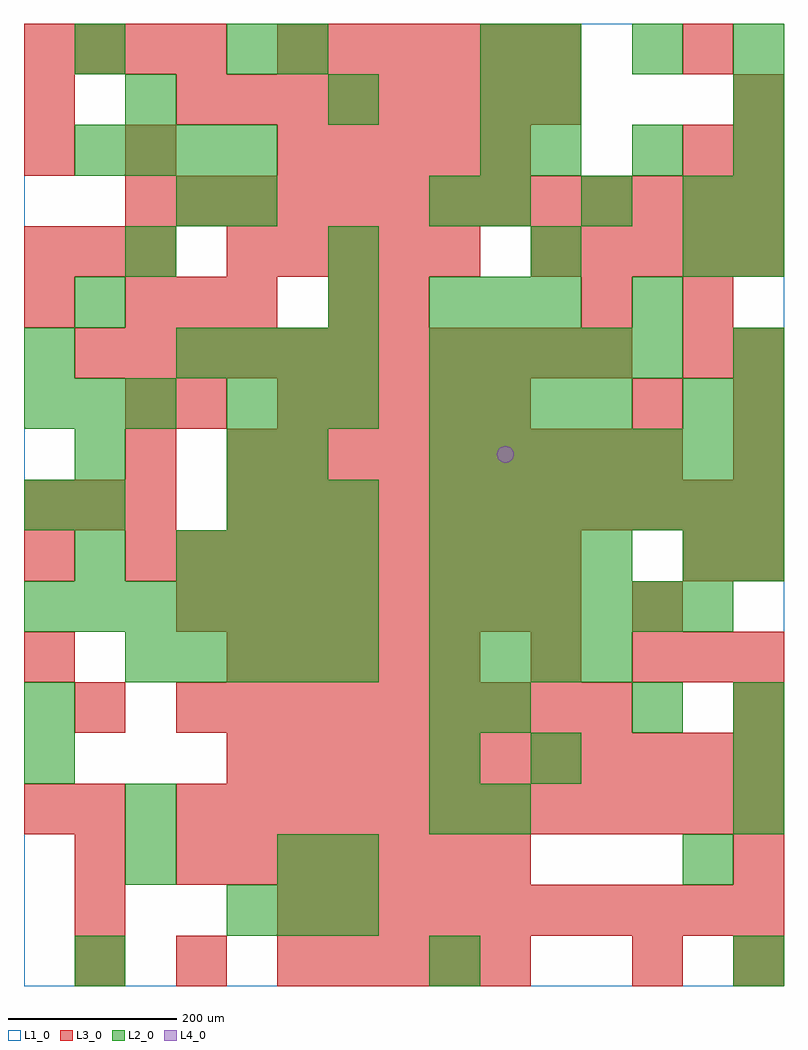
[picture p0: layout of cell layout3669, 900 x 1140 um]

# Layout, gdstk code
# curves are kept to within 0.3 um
import gdstk
lib = gdstk.Library(unit=1e-6, precision=1e-09)
def R(c, l, rs):  # rectangles x0, y0, x1, y1
    for r in rs: c.add(gdstk.rectangle(r[:2], r[2:], *l))
def A(c, l, x, y, w, h, nx, ny, dx, dy):  # array of equal rectangles
    R(c, l, [(x+i*dx, y+j*dy, x+i*dx+w, y+j*dy+h) for i in range(nx) for j in range(ny)])
def P(c, l, *ps):  # polygons
    for p in ps: c.add(gdstk.Polygon(p, *l))
L1_0 = (1, 0)
L2_0 = (2, 0)
L3_0 = (3, 0)
L4_0 = (4, 0)

layout3669 = lib.new_cell('layout3669')
R(layout3669, L1_0, [(0,0,900,1140)])
A(layout3669, L2_0, 240, 60, 60, 60, 3, 2, 60, 480)
A(layout3669, L2_0, 300, 120, 60, 60, 1, 3, 0, 480)
A(layout3669, L2_0, 480, 180, 60, 60, 1, 3, 0, 60)
A(layout3669, L2_0, 840, 180, 60, 60, 1, 3, 0, 60)
A(layout3669, L2_0, 120, 360, 60, 60, 5, 1, 60, 0)
A(layout3669, L2_0, 480, 360, 60, 60, 4, 2, 60, 120)
A(layout3669, L2_0, 0, 420, 60, 60, 7, 1, 60, 0)
A(layout3669, L2_0, 480, 420, 60, 60, 6, 1, 60, 0)
A(layout3669, L2_0, 60, 480, 60, 60, 1, 3, 0, 60)
A(layout3669, L2_0, 180, 480, 60, 60, 4, 2, 60, 240)
A(layout3669, L2_0, 780, 480, 60, 60, 1, 3, 0, 180)
A(layout3669, L2_0, 480, 540, 60, 60, 7, 2, 60, 60)
A(layout3669, L2_0, 0, 660, 60, 60, 3, 1, 60, 0)
A(layout3669, L2_0, 240, 660, 60, 60, 3, 1, 60, 0)
A(layout3669, L2_0, 480, 660, 60, 60, 4, 1, 60, 0)
A(layout3669, L2_0, 480, 720, 60, 60, 5, 1, 60, 0)
A(layout3669, L2_0, 480, 780, 60, 60, 3, 1, 60, 0)
A(layout3669, L2_0, 120, 840, 60, 60, 3, 1, 240, 0)
A(layout3669, L2_0, 540, 900, 60, 60, 3, 1, 120, 0)
A(layout3669, L2_0, 60, 960, 60, 60, 4, 1, 60, 0)
A(layout3669, L2_0, 540, 960, 60, 60, 1, 3, 0, 60)
A(layout3669, L2_0, 600, 960, 60, 60, 3, 2, 120, 120)
R(layout3669, L2_0, [(60,0,120,60), (480,0,540,60), (840,0,900,60), (120,120,180,180), (360,120,420,180), (780,120,840,180), (120,180,180,240), (540,180,600,240), (0,240,60,300), (600,240,660,300), (0,300,60,360), (540,300,600,360), (720,300,780,360), (840,480,900,540), (0,540,60,600), (240,600,300,660), (840,660,900,720), (0,720,60,780), (840,720,900,780), (60,780,120,840), (360,780,420,840), (720,780,780,840), (840,840,900,900), (180,900,240,960), (240,900,300,960), (480,900,540,960), (840,900,900,960), (120,1020,180,1080), (360,1020,420,1080), (600,1020,660,1080), (840,1020,900,1080), (60,1080,120,1140), (240,1080,300,1140)])
A(layout3669, L3_0, 60, 0, 60, 60, 3, 1, 120, 0)
A(layout3669, L3_0, 360, 0, 60, 60, 4, 1, 60, 0)
A(layout3669, L3_0, 60, 60, 60, 60, 1, 3, 0, 60)
A(layout3669, L3_0, 300, 60, 60, 60, 10, 1, 60, 0)
A(layout3669, L3_0, 180, 120, 60, 60, 7, 1, 60, 0)
A(layout3669, L3_0, 840, 120, 60, 60, 1, 3, 0, 180)
A(layout3669, L3_0, 180, 180, 60, 60, 12, 1, 60, 0)
A(layout3669, L3_0, 240, 240, 60, 60, 11, 2, 60, 300)
A(layout3669, L3_0, 180, 300, 60, 60, 9, 1, 60, 0)
A(layout3669, L3_0, 240, 360, 60, 60, 5, 2, 60, 480)
A(layout3669, L3_0, 720, 360, 60, 60, 3, 1, 60, 0)
A(layout3669, L3_0, 180, 420, 60, 60, 8, 2, 60, 600)
A(layout3669, L3_0, 120, 480, 60, 60, 9, 1, 60, 0)
A(layout3669, L3_0, 0, 540, 60, 60, 3, 2, 60, 300)
A(layout3669, L3_0, 240, 600, 60, 60, 9, 1, 60, 0)
A(layout3669, L3_0, 840, 600, 60, 60, 1, 3, 0, 60)
A(layout3669, L3_0, 300, 660, 60, 60, 5, 2, 60, 300)
A(layout3669, L3_0, 60, 720, 60, 60, 11, 1, 60, 0)
A(layout3669, L3_0, 120, 780, 60, 60, 3, 1, 60, 0)
A(layout3669, L3_0, 600, 840, 60, 60, 5, 1, 60, 0)
A(layout3669, L3_0, 120, 900, 60, 60, 13, 1, 60, 0)
A(layout3669, L3_0, 0, 1080, 60, 60, 4, 1, 60, 0)
A(layout3669, L3_0, 300, 1080, 60, 60, 6, 1, 60, 0)
R(layout3669, L3_0, [(720,0,780,60), (840,0,900,60), (0,180,60,240), (60,300,120,360), (0,360,60,420), (600,360,660,420), (720,420,780,480), (0,480,60,540), (780,480,840,540), (120,600,180,660), (120,660,180,720), (180,660,240,720), (720,660,780,720), (780,720,840,780), (0,780,60,840), (360,780,420,840), (420,780,480,840), (660,780,720,840), (780,780,840,840), (0,960,60,1020), (120,960,180,1020), (780,960,840,1020), (840,960,900,1020), (0,1020,60,1080), (840,1020,900,1080), (780,1080,840,1140)])
P(layout3669, L4_0, [(580,630),(579.239,633.827),(577.071,637.071),(573.827,639.239),(570,640),(566.173,639.239),(562.929,637.071),(560.761,633.827),(560,630),(560.761,626.173),(562.929,622.929),(566.173,620.761),(570,620),(573.827,620.761),(577.071,622.929),(579.239,626.173)])

lib.write_gds('layout3669.gds')
